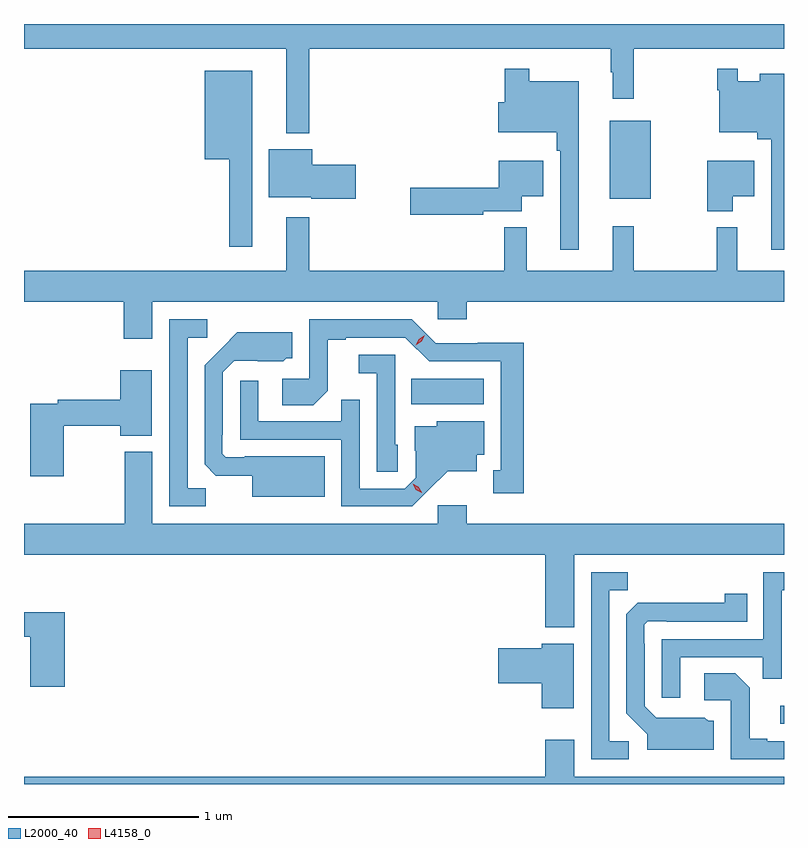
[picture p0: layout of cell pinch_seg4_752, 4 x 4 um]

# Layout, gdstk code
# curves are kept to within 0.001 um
import gdstk
lib = gdstk.Library(unit=1e-6, precision=1e-09)
def R(c, l, rs):  # rectangles x0, y0, x1, y1
    for r in rs: c.add(gdstk.rectangle(r[:2], r[2:], *l))
def P(c, l, *ps):  # polygons
    for p in ps: c.add(gdstk.Polygon(p, *l))
L2000_40 = (2000, 40)
L4158_0 = (4158, 0)

pinch_seg4_752 = lib.new_cell('pinch_seg4_752')
R(pinch_seg4_752, L2000_40, [(771.345,817.242,771.364,817.339), (769.402,818.924,769.783,819.058), (770.447,820.007,770.662,820.417)])
P(pinch_seg4_752, L2000_40, [(768.865,820.796),(770.451,820.796),(770.451,820.673),(770.462,820.673),(770.462,820.533),(770.572,820.533),(770.572,820.796),(771.364,820.796),(771.364,820.926),(767.364,820.926),(767.364,820.796),(768.743,820.796),(768.743,820.352),(768.865,820.352)],
  [(770.284,820.624),(770.023,820.624),(770.023,820.69),(769.894,820.69),(769.894,820.513),(769.86,820.513),(769.86,820.355),(770.167,820.355),(770.167,820.259),(770.187,820.259),(770.187,819.738),(770.284,819.738)],
  [(771.364,820.663),(771.236,820.663),(771.236,820.624),(771.12,820.624),(771.12,820.69),(771.012,820.69),(771.012,820.577),(771.024,820.577),(771.024,820.355),(771.224,820.355),(771.224,820.319),(771.297,820.319),(771.297,819.738),(771.364,819.738)],
  [(768.565,820.681),(768.314,820.681),(768.314,820.214),(768.444,820.214),(768.444,819.753),(768.565,819.753)],
  [(769.111,820.184),(768.88,820.184),(768.88,820.267),(768.653,820.267),(768.653,820.013),(768.876,820.013),(768.876,820.006),(769.111,820.006)],
  [(771.094,820.019),(771.208,820.019),(771.208,820.207),(770.96,820.207),(770.96,819.941),(771.094,819.941)],
  [(769.782,819.941),(769.984,819.941),(769.984,820.019),(770.098,820.019),(770.098,820.207),(769.862,820.207),(769.862,820.064),(769.398,820.064),(769.398,819.922),(769.782,819.922)],
  [(769.542,819.371),(769.694,819.371),(769.694,819.464),(771.364,819.464),(771.364,819.628),(771.119,819.628),(771.119,819.856),(771.009,819.856),(771.009,819.628),(770.572,819.628),(770.572,819.862),(770.462,819.862),(770.462,819.628),(770.009,819.628),(770.009,819.856),(769.891,819.856),(769.891,819.628),(768.865,819.628),(768.865,819.91),(768.743,819.91),(768.743,819.628),(767.364,819.628),(767.364,819.464),(767.888,819.464),(767.888,819.27),(768.04,819.27),(768.04,819.464),(769.542,819.464)],
  [(768.321,818.483),(768.225,818.483),(768.225,819.276),(768.328,819.276),(768.328,819.372),(768.129,819.372),(768.129,818.388),(768.321,818.388)],
  [(769.993,819.248),(769.752,819.248),(769.752,819.246),(769.53,819.246),(769.404,819.372),(768.864,819.372),(768.864,819.06),(768.723,819.06),(768.723,818.92),(768.887,818.92),(768.963,818.996),(768.963,819.264),(769.057,819.264),(769.057,819.276),(769.371,819.276),(769.497,819.15),(769.874,819.15),(769.874,818.577),(769.835,818.577),(769.835,818.457),(769.993,818.457)],
  [(768.946,818.65),(768.526,818.65),(768.526,818.646),(768.426,818.646),(768.408,818.664),(768.408,818.764),(768.411,818.764),(768.411,819.093),(768.471,819.153),(768.728,819.152),(768.744,819.168),(768.775,819.168),(768.775,819.304),(768.487,819.304),(768.315,819.13),(768.315,818.608),(768.374,818.549),(768.566,818.549),(768.566,818.438),(768.946,818.438)],
  [(769.332,818.712),(769.317,818.712),(769.317,819.186),(769.125,819.186),(769.125,819.089),(769.221,819.089),(769.221,818.569),(769.332,818.569)],
  [(767.574,818.812),(767.87,818.812),(767.87,818.759),(768.037,818.759),(768.037,819.103),(767.87,819.103),(767.87,818.948),(767.542,818.948),(767.542,818.928),(767.396,818.928),(767.396,818.547),(767.574,818.547)],
  [(769.492,818.471),(769.595,818.573),(769.747,818.573),(769.747,818.66),(769.786,818.66),(769.786,818.836),(769.536,818.836),(769.536,818.809),(769.421,818.809),(769.421,818.68),(769.425,818.68),(769.425,818.538),(769.368,818.481),(769.131,818.481),(769.131,818.948),(769.033,818.948),(769.033,818.835),(768.597,818.835),(768.597,819.049),(768.501,819.049),(768.501,818.739),(769.035,818.739),(769.035,818.388),(769.408,818.388)],
  [(770.26,818.132),(771.364,818.132),(771.364,818.296),(769.694,818.296),(769.694,818.392),(769.542,818.392),(769.542,818.296),(768.04,818.296),(768.04,818.674),(767.893,818.674),(767.893,818.296),(767.364,818.296),(767.364,818.132),(770.108,818.132),(770.108,817.752),(770.26,817.752)],
  [(770.817,817.593),(771.253,817.593),(771.253,817.48),(771.351,817.48),(771.351,817.947),(771.364,817.947),(771.364,818.04),(771.255,818.04),(771.255,817.689),(770.721,817.689),(770.721,817.38),(770.817,817.38)],
  [(770.548,817.152),(770.445,817.152),(770.445,817.945),(770.541,817.945),(770.541,818.04),(770.349,818.04),(770.349,817.056),(770.548,817.056)],
  [(770.995,817.26),(770.964,817.26),(770.948,817.276),(770.691,817.275),(770.631,817.335),(770.631,817.664),(770.628,817.664),(770.628,817.764),(770.646,817.782),(770.746,817.782),(770.746,817.779),(771.17,817.779),(771.17,817.927),(771.052,817.927),(771.052,817.88),(770.594,817.879),(770.535,817.82),(770.535,817.298),(770.645,817.188),(770.645,817.106),(770.995,817.106)],
  [(767.579,817.831),(767.364,817.831),(767.364,817.702),(767.396,817.702),(767.396,817.437),(767.579,817.437)],
  [(770.257,817.663),(770.09,817.663),(770.09,817.64),(769.86,817.64),(769.86,817.457),(770.09,817.457),(770.09,817.326),(770.257,817.326)],
  [(771.364,817.152),(771.277,817.152),(771.277,817.165),(771.183,817.165),(771.183,817.432),(771.107,817.508),(770.943,817.508),(770.943,817.368),(771.084,817.368),(771.084,817.056),(771.364,817.056)],
  [(771.364,816.964),(770.26,816.964),(770.26,817.159),(770.108,817.159),(770.108,816.964),(767.364,816.964),(767.364,816.926),(771.364,816.926)])
P(pinch_seg4_752, L4158_0, [(769.425,819.236),(769.425,819.236),(769.442,819.268),(769.474,819.287),(769.474,819.287),(769.474,819.287),(769.457,819.255),(769.425,819.236)],
  [(769.457,818.46),(769.426,818.476),(769.41,818.506),(769.41,818.506),(769.41,818.506),(769.44,818.491),(769.457,818.461),(769.457,818.46)])

lib.write_gds('pinch_seg4_752.gds')
